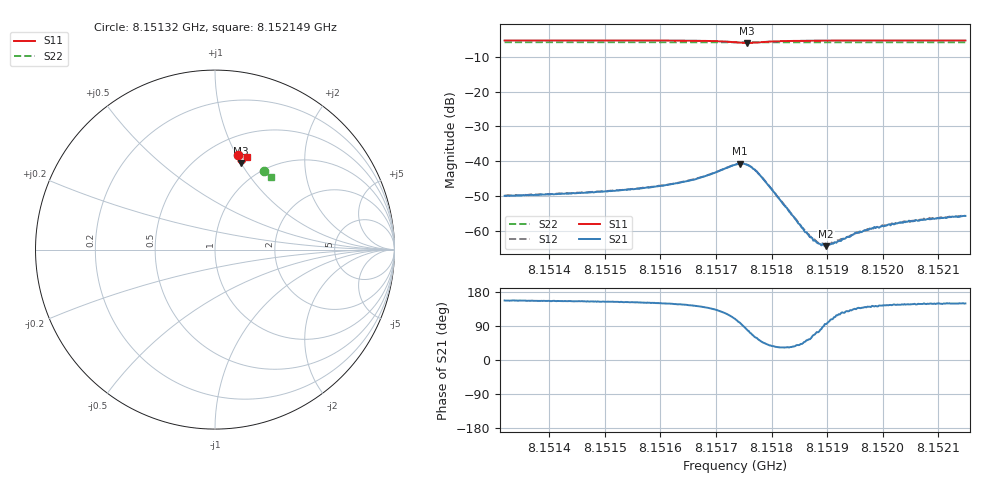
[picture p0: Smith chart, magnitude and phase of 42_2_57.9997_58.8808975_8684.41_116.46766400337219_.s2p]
#  HZ  S  RI  R  50.00
! Rohde & Schwarz Vector Network Analyzer
! Rohde-Schwarz,ZNB20-2Port,1311601062101988,3.16
! Created: UTC 3/21/2024, 12:52:08 AM
! freq[Hz]  re:S11  im:S11  re:S21  im:S21  re:S12  im:S12  re:S22  im:S22
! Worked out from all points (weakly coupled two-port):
!   401 points, 8.15132 GHz to 8.152149 GHz, reference 50 ohm
!   highest |S21| = -40.69 dB at 8.151743 GHz (marker M1); lowest = -64.4 dB at 8.151898 GHz (marker M2)
!   lowest |S11| = -6.0 dB at 8.151755 GHz (marker M3), VSWR 3.01, Z = 38.9 + j50 ohm
!   |S11| at or under -10 dB: nowhere
!   |S22| runs from -5.8 to -5.8 dB; largest |S21 - S12| = 0.00021
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8.1513195e9  0.1286 0.5282  -0.00293 0.00124  -0.00292 0.00131  0.2713 0.4365
8.1514585e9  0.1397 0.5255  -0.00322 0.00147  -0.0032 0.00157  0.2789 0.4316
8.1515414e9  0.1471 0.523  -0.00348 0.00179  -0.00349 0.00186  0.2833 0.4285
8.1515974e9  0.1528 0.5206  -0.0038 0.0022  -0.00382 0.00228  0.2863 0.4263
8.1516306e9  0.1569 0.5182  -0.00404 0.00264  -0.00408 0.00267  0.2882 0.425
8.1516658e9  0.162 0.5141  -0.00445 0.00344  -0.00445 0.00353  0.29 0.4235
8.1517343e9  0.1636 0.4868  -0.00282 0.00843  -0.0027 0.00853  0.2931 0.4202
8.1517426e9  0.1577 0.4821  -0.00144 0.00912  -0.00125 0.00915  0.2933 0.4198
8.151755e9  0.1452 0.4803  0.00131 0.00887  0.00144 0.00885  0.2934 0.4194
8.1517695e9  0.133 0.4886  0.00369 0.00667  0.00366 0.00667  0.2937 0.4194
8.1517799e9  0.1302 0.4971  0.00394 0.00477  0.00401 0.00478  0.2943 0.4192
8.1518525e9  0.1459 0.5185  0.000884 0.000807  0.000897 0.000752  0.2989 0.4172
8.1518732e9  0.1495 0.5191  0.000368 0.000698  0.000422 0.000683  0.3001 0.4165
8.1518857e9  0.1515 0.5193  0.000169 0.000629  0.00015 0.000645  0.3006 0.4159
8.1518981e9  0.1534 0.5193  -4.75e-05 0.000599  -3.74e-05 0.000657  0.3015 0.4154
8.1519105e9  0.155 0.5193  -0.000206 0.000618  -0.000214 0.000622  0.302 0.4149
8.1519209e9  0.1563 0.5193  -0.000363 0.00061  -0.000366 0.000634  0.3025 0.4145
8.1519541e9  0.1599 0.5189  -0.000672 0.00064  -0.000682 0.000666  0.3043 0.4131
8.1519769e9  0.1624 0.5185  -0.000836 0.000684  -0.000811 0.000677  0.3055 0.4122
8.1520122e9  0.1656 0.5179  -0.00102 0.000708  -0.000994 0.000714  0.3074 0.4108
8.1520868e9  0.172 0.5162  -0.00128 0.000765  -0.00123 0.000787  0.3112 0.4077
8.152149e9  0.1769 0.5151  -0.00141 0.000836  -0.00142 0.000873  0.3144 0.4055
